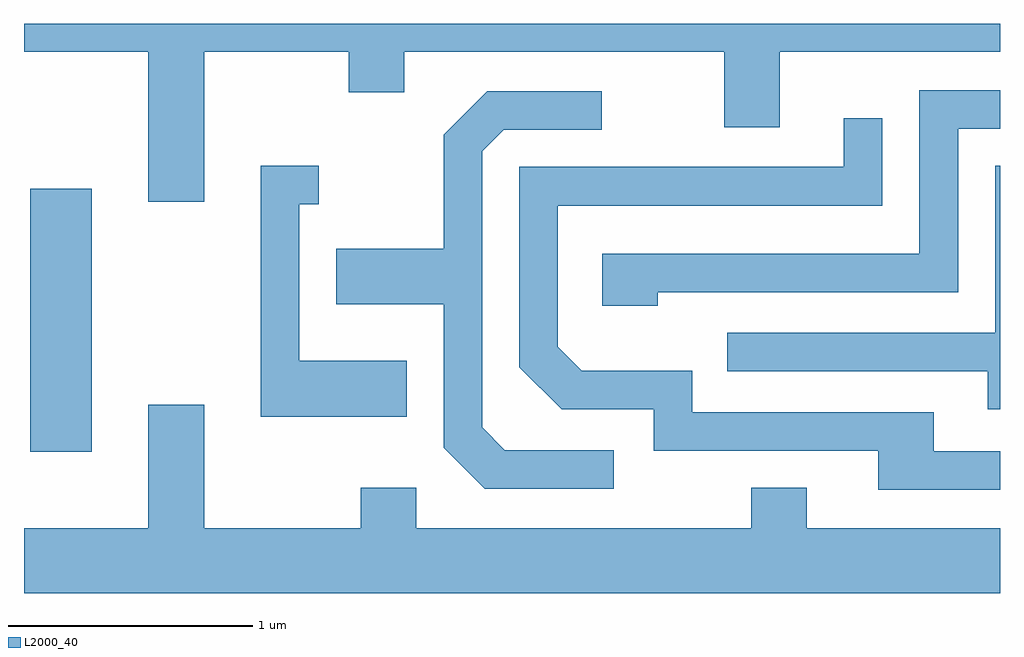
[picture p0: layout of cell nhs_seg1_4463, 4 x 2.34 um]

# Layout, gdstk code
import gdstk
lib = gdstk.Library(unit=1e-6, precision=1e-09)
def R(c, l, rs):  # rectangles x0, y0, x1, y1
    for r in rs: c.add(gdstk.rectangle(r[:2], r[2:], *l))
def P(c, l, *ps):  # polygons
    for p in ps: c.add(gdstk.Polygon(p, *l))
L2000_40 = (2000, 40)

nhs_seg1_4463 = lib.new_cell('nhs_seg1_4463')
R(nhs_seg1_4463, L2000_40, [(319.636,877.956,319.889,879.034)])
P(nhs_seg1_4463, L2000_40, [(320.349,879.596),(320.941,879.596),(320.941,879.431),(321.169,879.431),(321.169,879.596),(322.481,879.596),(322.481,879.286),(322.709,879.286),(322.709,879.596),(323.611,879.596),(323.611,879.712),(319.611,879.712),(319.611,879.596),(320.121,879.596),(320.121,878.981),(320.349,878.981)],
  [(322.209,878.611),(323.439,878.611),(323.439,879.281),(323.611,879.281),(323.611,879.439),(323.281,879.439),(323.281,878.769),(321.981,878.769),(321.981,878.556),(322.209,878.556)],
  [(322.028,877.964),(321.582,877.964),(321.489,878.057),(321.489,879.189),(321.577,879.276),(321.978,879.276),(321.978,879.434),(321.509,879.434),(321.331,879.257),(321.331,878.789),(320.891,878.789),(320.891,878.561),(321.331,878.561),(321.331,877.974),(321.499,877.806),(322.028,877.806)],
  [(323.611,877.959),(323.339,877.959),(323.339,878.119),(322.349,878.119),(322.349,878.289),(321.897,878.289),(321.799,878.387),(321.799,878.966),(323.129,878.966),(323.129,879.323),(322.971,879.323),(322.971,879.124),(321.641,879.124),(321.641,878.304),(321.814,878.131),(322.191,878.131),(322.191,877.961),(323.111,877.961),(323.111,877.801),(323.611,877.801)],
  [(321.179,878.329),(320.739,878.329),(320.739,878.971),(320.818,878.971),(320.818,879.129),(320.581,879.129),(320.581,878.101),(321.179,878.101)],
  [(323.611,879.129),(323.591,879.129),(323.591,878.444),(322.493,878.444),(322.493,878.286),(323.561,878.286),(323.561,878.131),(323.611,878.131)],
  [(323.611,877.644),(322.819,877.644),(322.819,877.809),(322.591,877.809),(322.591,877.644),(321.219,877.644),(321.219,877.809),(320.991,877.809),(320.991,877.644),(320.349,877.644),(320.349,878.149),(320.121,878.149),(320.121,877.644),(319.611,877.644),(319.611,877.376),(323.611,877.376)])

lib.write_gds('nhs_seg1_4463.gds')
